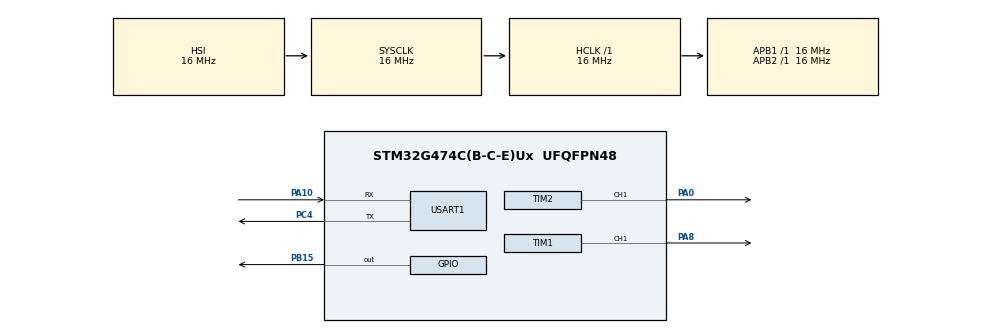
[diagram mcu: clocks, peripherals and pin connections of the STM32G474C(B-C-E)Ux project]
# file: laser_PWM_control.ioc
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Mcu.Family=STM32G4
Mcu.Name=STM32G474C(B-C-E)Ux
Mcu.Package=UFQFPN48
NVIC.PriorityGroup=NVIC_PRIORITYGROUP_4
NVIC.USART1_IRQn=true\:0\:0\:false\:false\:true\:true\:true\:true
PA0.Signal=S_TIM2_CH1
PA10.Mode=Asynchronous
PA10.Signal=USART1_RX
PA13.Mode=Serial_Wire
PA13.Signal=SYS_JTMS-SWDIO
PA14.Mode=Serial_Wire
PA14.Signal=SYS_JTCK-SWCLK
PA8.Signal=S_TIM1_CH1
PB15.Signal=GPIO_Output
PC4.Mode=Asynchronous
PC4.Signal=USART1_TX
ProjectManager.HeapSize=0x200
ProjectManager.StackSize=0x400
ProjectManager.TargetToolchain=STM32CubeIDE
RCC.AHBFreq_Value=16000000
RCC.APB1Freq_Value=16000000
RCC.APB1TimFreq_Value=16000000
RCC.APB2Freq_Value=16000000
RCC.APB2TimFreq_Value=16000000
RCC.CortexFreq_Value=16000000
RCC.EXTERNAL_CLOCK_VALUE=12288000
RCC.HCLKFreq_Value=16000000
RCC.HSE_VALUE=8000000
RCC.HSI48_VALUE=48000000
RCC.HSI_VALUE=16000000
RCC.LSE_VALUE=32768
RCC.SYSCLKFreq_VALUE=16000000
RCC.USBFreq_Value=64000000
RCC.VCOOutputFreq_Value=128000000
SH.S_TIM1_CH1.0=TIM1_CH1,PWM Generation1 CH1
SH.S_TIM2_CH1.0=TIM2_CH1,PWM Generation1 CH1
TIM1.Channel-PWM\ Generation1\ CH1=TIM_CHANNEL_1
TIM1.OCMode_PWM-PWM\ Generation1\ CH1=TIM_OCMODE_PWM1
TIM1.PeriodNoDither=99
TIM1.Prescaler=1600
TIM1.TIM_MasterOutputTrigger=TIM_TRGO_UPDATE
TIM1.TIM_MasterSlaveMode=TIM_MASTERSLAVEMODE_ENABLE
TIM2.Channel-PWM\ Generation1\ CH1=TIM_CHANNEL_1
TIM2.OCMode_PWM-PWM\ Generation1\ CH1=TIM_OCMODE_PWM2
TIM2.PeriodNoDither=99
TIM2.Prescaler=1600
TIM2.PulseNoDither_1=1
TIM2.TIM_MasterOutputTrigger=TIM_TRGO_RESET
TIM2.TIM_MasterSlaveMode=TIM_MASTERSLAVEMODE_DISABLE
USART1.VirtualMode-Asynchronous=VM_ASYNC
VP_SYS_VS_DBSignals.Mode=DisableDeadBatterySignals
VP_TIM2_VS_ClockSourceITR.Mode=TriggerSource_ITR0
VP_TIM2_VS_ControllerModeTrigger.Mode=Trigger Mode
VP_TIM2_VS_OPM.Mode=OPM_bit
board=custom

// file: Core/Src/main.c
/* USER CODE BEGIN Header */
/**
  ******************************************************************************
  * @file           : main.c
  * @brief          : Main program body
  ******************************************************************************
  * @attention
  *
  * Copyright (c) 2026 STMicroelectronics.
  * All rights reserved.
  *
  * This software is licensed under terms that can be found in the LICENSE file
  * in the root directory of this software component.
  * If no LICENSE file comes with this software, it is provided AS-IS.
  *
  ******************************************************************************
  */
/* USER CODE END Header */
#include "main.h"

/* USER CODE BEGIN Includes */

#include <string.h>
#include <stdlib.h>
#include <stdint.h>
#include <stdio.h>

/* USER CODE END Includes */

/* USER CODE BEGIN PTD */

typedef struct
{
  /* data */
  char sComm[7];
  uint16_t freq;
  uint8_t pwm;
} laser_command;
laser_command laser_cmd;

typedef struct
{
  /* data */
  char sComm[7];
  uint8_t freq;
  uint32_t us;
} laser_command_microsec;
laser_command_microsec laser_cmd_us;

/* USER CODE END PTD */

/* USER CODE BEGIN PD */

#define RX_BUFFER_SIZE 32

/* USER CODE END PD */

TIM_HandleTypeDef htim1;
TIM_HandleTypeDef htim2;

UART_HandleTypeDef huart1;

/* USER CODE BEGIN PV */

char rx_buffer[RX_BUFFER_SIZE];
uint8_t rx_line_indx = 0;
volatile uint8_t rx_line_ready = 0; // флаг: строка готова
uint8_t rx_byte;

/* USER CODE END PV */

void SystemClock_Config(void);
static void MX_GPIO_Init(void);
static void MX_TIM1_Init(void);
static void MX_USART1_UART_Init(void);
static void MX_TIM2_Init(void);

/* USER CODE BEGIN 0 */

void incorrect_input(){
  HAL_UART_Transmit_IT(&huart1, (uint8_t*)"Incorrect command\n", strlen("Incorrect command\n"));
}

void set_prescaler(uint16_t freq_hz, uint8_t pwm)
{
  if (freq_hz < 3){
    uint16_t psc = (uint16_t)((16000000UL / freq_hz  / 1000UL) - 1UL);
    __HAL_TIM_SET_PRESCALER(&htim1, psc);
    __HAL_TIM_SET_AUTORELOAD(&htim1, 999);
    __HAL_TIM_SET_COMPARE(&htim1, TIM_CHANNEL_1, (uint16_t)(pwm * 10));
    HAL_TIM_GenerateEvent(&htim1, TIM_EVENTSOURCE_UPDATE);
    __HAL_TIM_SET_PRESCALER(&htim2, psc);
    HAL_TIM_GenerateEvent(&htim2, TIM_EVENTSOURCE_UPDATE);
    return;
  }
  uint16_t psc = (uint16_t)((16000000UL / freq_hz / 100UL) - 1UL);
  __HAL_TIM_SET_PRESCALER(&htim1, psc);
  HAL_TIM_GenerateEvent(&htim1, TIM_EVENTSOURCE_UPDATE);
  __HAL_TIM_SET_PRESCALER(&htim2, psc);
  HAL_TIM_GenerateEvent(&htim2, TIM_EVENTSOURCE_UPDATE);
}

void set_tim_period(uint8_t freq_hz, uint32_t us) {
	if (freq_hz < 3)
	{
	    uint32_t pulse_scaled = us / 100;
	    uint32_t freq_period_us = 1000000UL / freq_hz;
	    uint32_t freq_period_scaled = freq_period_us / 100;

	    uint16_t psc1 = 1599;

	    uint32_t arr = freq_period_scaled - 1;
	    if (pulse_scaled > arr) {pulse_scaled = arr;}

	    __HAL_TIM_SET_PRESCALER(&htim1, psc1);
	    __HAL_TIM_SET_AUTORELOAD(&htim1, arr);
	    __HAL_TIM_SET_COMPARE(&htim1, TIM_CHANNEL_1, pulse_scaled);
	    HAL_TIM_GenerateEvent(&htim1, TIM_EVENTSOURCE_UPDATE);

	    uint16_t psc2 = (uint16_t)((16000000UL / freq_hz / 1000UL) - 1UL);
	    __HAL_TIM_SET_AUTORELOAD(&htim2, 499);
	    __HAL_TIM_SET_PRESCALER(&htim2, psc2);
	    HAL_TIM_GenerateEvent(&htim2, TIM_EVENTSOURCE_UPDATE);

	    return;
	}
    uint32_t period_us_scaled = us / 10;
    uint32_t freq_period_us = 1000000UL / freq_hz;
    uint32_t freq_period_scaled = freq_period_us / 10;

    uint16_t psc1 = 159;

    uint32_t arr;
    arr = freq_period_scaled - 1;

    uint32_t pulse_scaled = period_us_scaled;
    if (pulse_scaled > arr) pulse_scaled = arr;

    __HAL_TIM_SET_PRESCALER(&htim1, psc1);
    __HAL_TIM_SET_AUTORELOAD(&htim1, arr);
    __HAL_TIM_SET_COMPARE(&htim1, TIM_CHANNEL_1, (uint16_t)pulse_scaled);
    HAL_TIM_GenerateEvent(&htim1, TIM_EVENTSOURCE_UPDATE);

    uint16_t psc2 = (uint16_t)((16000000UL / freq_hz / 100UL) - 1UL);
    __HAL_TIM_SET_PRESCALER(&htim2, psc2);
    __HAL_TIM_SET_AUTORELOAD(&htim2, 49);
    HAL_TIM_GenerateEvent(&htim2, TIM_OPMODE_REPETITIVE);
}

void set_pwm(uint8_t pwm){
  __HAL_TIM_SET_AUTORELOAD(&htim1, 99);
  __HAL_TIM_SET_COMPARE(&htim1, TIM_CHANNEL_1, pwm);
  HAL_TIM_GenerateEvent(&htim1, TIM_EVENTSOURCE_UPDATE);
}

uint8_t parser(const char *str)
{
  int freq_tmp = 0;
  int pwm_tmp = 0;
  int parced_args = sscanf(str, "%7s %d %d", laser_cmd.sComm, &freq_tmp, &pwm_tmp);

  if (parced_args != 3 && strcmp(laser_cmd.sComm, "fullGaz") != 0){
    incorrect_input();
    return 0;
  }
  else if (strcmp(laser_cmd.sComm, "fullGaz") == 0){
    laser_cmd.pwm = 100;
    laser_cmd.freq = 100;
    return 1;
  }

  else if (strcmp(laser_cmd.sComm, "freqCUs") == 0){
    if (freq_tmp < 0 || freq_tmp > 100){
      incorrect_input();
      return 0;
    }
    else if(pwm_tmp < 0 ){
      incorrect_input();
      return 0;
    }
    strcpy(laser_cmd_us.sComm, laser_cmd.sComm);
    laser_cmd_us.us = (uint32_t)pwm_tmp;
    laser_cmd_us.freq = (uint8_t)freq_tmp;
    return 2;
  }

  else if (strcmp(laser_cmd.sComm, "freqCmd") != 0){
    incorrect_input();
    return 0;
  }
  else{
    if (freq_tmp < 0 || freq_tmp > 65536){
      incorrect_input();
      return 0;
    }
    else if(pwm_tmp < 0 || pwm_tmp > 65536){
      incorrect_input();
      return 0;
    }
    laser_cmd.pwm = (uint8_t)pwm_tmp;
    laser_cmd.freq = (uint16_t)freq_tmp;
    return 1;
  }
}

/* USER CODE END 0 */

int main(void)
{

  /* MCU Configuration--------------------------------------------------------*/

  /* Reset of all peripherals, Initializes the Flash interface and the Systick. */
  HAL_Init();

  /* Configure the system clock */
  SystemClock_Config();

  /* Initialize all configured peripherals */
  MX_GPIO_Init();
  MX_TIM1_Init();
  MX_USART1_UART_Init();
  MX_TIM2_Init();
  /* USER CODE BEGIN 2 */
  HAL_TIM_OnePulse_Start(&htim2, TIM_CHANNEL_1);
  HAL_TIM_PWM_Start(&htim1, TIM_CHANNEL_1);
  HAL_UART_Receive_IT(&huart1, &rx_byte, 1);
  /* USER CODE END 2 */

  /* Infinite loop */
  /* USER CODE BEGIN WHILE */
  while (1)
  {
    if (rx_line_ready)
    {
        rx_line_ready = 0;
        uint8_t parced_cmd = parser(rx_buffer);
        if (parced_cmd == 1){
        	if (laser_cmd.freq < 3){
        		set_prescaler(laser_cmd.freq, laser_cmd.pwm);}
        	else{
				set_prescaler(laser_cmd.freq, laser_cmd.pwm);
				set_pwm(laser_cmd.pwm);}

        }
        else if (parced_cmd == 2){
          set_tim_period(laser_cmd_us.freq, laser_cmd_us.us);
        }
        memset(rx_buffer, 0, sizeof(rx_buffer));
    }
    /* USER CODE END WHILE */

  }
}

void SystemClock_Config(void)
{
  RCC_OscInitTypeDef RCC_OscInitStruct = {0};
  RCC_ClkInitTypeDef RCC_ClkInitStruct = {0};

  /** Configure the main internal regulator output voltage
  */
  HAL_PWREx_ControlVoltageScaling(PWR_REGULATOR_VOLTAGE_SCALE1);

  /** Initializes the RCC Oscillators according to the specified parameters
  * in the RCC_OscInitTypeDef structure.
  */
  RCC_OscInitStruct.OscillatorType = RCC_OSCILLATORTYPE_HSI;
  RCC_OscInitStruct.HSIState = RCC_HSI_ON;
  RCC_OscInitStruct.HSICalibrationValue = RCC_HSICALIBRATION_DEFAULT;
  RCC_OscInitStruct.PLL.PLLState = RCC_PLL_NONE;
  if (HAL_RCC_OscConfig(&RCC_OscInitStruct) != HAL_OK)
  {
    Error_Handler();
  }

  /** Initializes the CPU, AHB and APB buses clocks
  */
  RCC_ClkInitStruct.ClockType = RCC_CLOCKTYPE_HCLK|RCC_CLOCKTYPE_SYSCLK
                              |RCC_CLOCKTYPE_PCLK1|RCC_CLOCKTYPE_PCLK2;
  RCC_ClkInitStruct.SYSCLKSource = RCC_SYSCLKSOURCE_HSI;
  RCC_ClkInitStruct.AHBCLKDivider = RCC_SYSCLK_DIV1;
  RCC_ClkInitStruct.APB1CLKDivider = RCC_HCLK_DIV1;
  RCC_ClkInitStruct.APB2CLKDivider = RCC_HCLK_DIV1;

  if (HAL_RCC_ClockConfig(&RCC_ClkInitStruct, FLASH_LATENCY_0) != HAL_OK)
  {
    Error_Handler();
  }
}

static void MX_TIM1_Init(void)
{

  TIM_MasterConfigTypeDef sMasterConfig = {0};
  TIM_OC_InitTypeDef sConfigOC = {0};
  TIM_BreakDeadTimeConfigTypeDef sBreakDeadTimeConfig = {0};

  htim1.Instance = TIM1;
  htim1.Init.Prescaler = 160;
  htim1.Init.CounterMode = TIM_COUNTERMODE_UP;
  htim1.Init.Period = 99;
  htim1.Init.ClockDivision = TIM_CLOCKDIVISION_DIV1;
  htim1.Init.RepetitionCounter = 0;
  htim1.Init.AutoReloadPreload = TIM_AUTORELOAD_PRELOAD_DISABLE;
  if (HAL_TIM_PWM_Init(&htim1) != HAL_OK)
  {
    Error_Handler();
  }
  sMasterConfig.MasterOutputTrigger = TIM_TRGO_UPDATE;
  sMasterConfig.MasterOutputTrigger2 = TIM_TRGO2_RESET;
  sMasterConfig.MasterSlaveMode = TIM_MASTERSLAVEMODE_ENABLE;
  if (HAL_TIMEx_MasterConfigSynchronization(&htim1, &sMasterConfig) != HAL_OK)
  {
    Error_Handler();
  }
  sConfigOC.OCMode = TIM_OCMODE_PWM1;
  sConfigOC.Pulse = 0;
  sConfigOC.OCPolarity = TIM_OCPOLARITY_HIGH;
  sConfigOC.OCNPolarity = TIM_OCNPOLARITY_HIGH;
  sConfigOC.OCFastMode = TIM_OCFAST_DISABLE;
  sConfigOC.OCIdleState = TIM_OCIDLESTATE_RESET;
  sConfigOC.OCNIdleState = TIM_OCNIDLESTATE_RESET;
  if (HAL_TIM_PWM_ConfigChannel(&htim1, &sConfigOC, TIM_CHANNEL_1) != HAL_OK)
  {
    Error_Handler();
  }
  sBreakDeadTimeConfig.OffStateRunMode = TIM_OSSR_DISABLE;
  sBreakDeadTimeConfig.OffStateIDLEMode = TIM_OSSI_DISABLE;
  sBreakDeadTimeConfig.LockLevel = TIM_LOCKLEVEL_OFF;
  sBreakDeadTimeConfig.DeadTime = 0;
  sBreakDeadTimeConfig.BreakState = TIM_BREAK_DISABLE;
  sBreakDeadTimeConfig.BreakPolarity = TIM_BREAKPOLARITY_HIGH;
  sBreakDeadTimeConfig.BreakFilter = 0;
  sBreakDeadTimeConfig.BreakAFMode = TIM_BREAK_AFMODE_INPUT;
  sBreakDeadTimeConfig.Break2State = TIM_BREAK2_DISABLE;
  sBreakDeadTimeConfig.Break2Polarity = TIM_BREAK2POLARITY_HIGH;
  sBreakDeadTimeConfig.Break2Filter = 0;
  sBreakDeadTimeConfig.Break2AFMode = TIM_BREAK_AFMODE_INPUT;
  sBreakDeadTimeConfig.AutomaticOutput = TIM_AUTOMATICOUTPUT_DISABLE;
  if (HAL_TIMEx_ConfigBreakDeadTime(&htim1, &sBreakDeadTimeConfig) != HAL_OK)
  {
    Error_Handler();
  }
  HAL_TIM_MspPostInit(&htim1);

}

static void MX_TIM2_Init(void)
{

  TIM_SlaveConfigTypeDef sSlaveConfig = {0};
  TIM_MasterConfigTypeDef sMasterConfig = {0};
  TIM_OC_InitTypeDef sConfigOC = {0};

  htim2.Instance = TIM2;
  htim2.Init.Prescaler = 1600;
  htim2.Init.CounterMode = TIM_COUNTERMODE_UP;
  htim2.Init.Period = 49;
  htim2.Init.ClockDivision = TIM_CLOCKDIVISION_DIV1;
  htim2.Init.AutoReloadPreload = TIM_AUTORELOAD_PRELOAD_DISABLE;
  if (HAL_TIM_Base_Init(&htim2) != HAL_OK)
  {
    Error_Handler();
  }
  if (HAL_TIM_PWM_Init(&htim2) != HAL_OK)
  {
    Error_Handler();
  }
  if (HAL_TIM_OnePulse_Init(&htim2, TIM_OPMODE_SINGLE) != HAL_OK)
  {
    Error_Handler();
  }
  sSlaveConfig.SlaveMode = TIM_SLAVEMODE_TRIGGER;
  sSlaveConfig.InputTrigger = TIM_TS_ITR0;
  if (HAL_TIM_SlaveConfigSynchro(&htim2, &sSlaveConfig) != HAL_OK)
  {
    Error_Handler();
  }
  sMasterConfig.MasterOutputTrigger = TIM_TRGO_RESET;
  sMasterConfig.MasterSlaveMode = TIM_MASTERSLAVEMODE_DISABLE;
  if (HAL_TIMEx_MasterConfigSynchronization(&htim2, &sMasterConfig) != HAL_OK)
  {
    Error_Handler();
  }
  sConfigOC.OCMode = TIM_OCMODE_PWM2;
  sConfigOC.Pulse = 1;
  sConfigOC.OCPolarity = TIM_OCPOLARITY_HIGH;
  sConfigOC.OCFastMode = TIM_OCFAST_DISABLE;
  if (HAL_TIM_PWM_ConfigChannel(&htim2, &sConfigOC, TIM_CHANNEL_1) != HAL_OK)
  {
    Error_Handler();
  }
  HAL_TIM_MspPostInit(&htim2);

}

static void MX_USART1_UART_Init(void)
{

  huart1.Instance = USART1;
  huart1.Init.BaudRate = 115200;
  huart1.Init.WordLength = UART_WORDLENGTH_8B;
  huart1.Init.StopBits = UART_STOPBITS_1;
  huart1.Init.Parity = UART_PARITY_NONE;
  huart1.Init.Mode = UART_MODE_TX_RX;
  huart1.Init.HwFlowCtl = UART_HWCONTROL_NONE;
  huart1.Init.OverSampling = UART_OVERSAMPLING_16;
  huart1.Init.OneBitSampling = UART_ONE_BIT_SAMPLE_DISABLE;
  huart1.Init.ClockPrescaler = UART_PRESCALER_DIV1;
  huart1.AdvancedInit.AdvFeatureInit = UART_ADVFEATURE_NO_INIT;
  if (HAL_UART_Init(&huart1) != HAL_OK)
  {
    Error_Handler();
  }
  if (HAL_UARTEx_SetTxFifoThreshold(&huart1, UART_TXFIFO_THRESHOLD_1_8) != HAL_OK)
  {
    Error_Handler();
  }
  if (HAL_UARTEx_SetRxFifoThreshold(&huart1, UART_RXFIFO_THRESHOLD_1_8) != HAL_OK)
  {
    Error_Handler();
  }
  if (HAL_UARTEx_DisableFifoMode(&huart1) != HAL_OK)
  {
    Error_Handler();
  }

}

static void MX_GPIO_Init(void)
{
  GPIO_InitTypeDef GPIO_InitStruct = {0};

  /* GPIO Ports Clock Enable */
  __HAL_RCC_GPIOA_CLK_ENABLE();
  __HAL_RCC_GPIOC_CLK_ENABLE();
  __HAL_RCC_GPIOB_CLK_ENABLE();

  /*Configure GPIO pin Output Level */
  HAL_GPIO_WritePin(GPIOB, GPIO_PIN_15, GPIO_PIN_RESET);

  /*Configure GPIO pin : PB15 */
  GPIO_InitStruct.Pin = GPIO_PIN_15;
  GPIO_InitStruct.Mode = GPIO_MODE_OUTPUT_PP;
  GPIO_InitStruct.Pull = GPIO_NOPULL;
  GPIO_InitStruct.Speed = GPIO_SPEED_FREQ_LOW;
  HAL_GPIO_Init(GPIOB, &GPIO_InitStruct);

}

/* USER CODE BEGIN 4 */

void HAL_UART_RxCpltCallback(UART_HandleTypeDef *huart)
{
    if (huart->Instance == USART1)
    {
        if (rx_byte == '\n')
        {
            rx_line_ready = 1;
            rx_line_indx = 0;
        }
        else if (rx_byte != '\r')
        {
            if (rx_line_indx < RX_BUFFER_SIZE - 1)
            {
                rx_buffer[rx_line_indx++] = rx_byte;
            }
            else
            {
                rx_line_indx = 0;
            }
        }

        HAL_UART_Receive_IT(&huart1, &rx_byte, 1);
    }
}

/* USER CODE END 4 */

void Error_Handler(void)
{
  __disable_irq();
  while (1)
  {
  }
}
